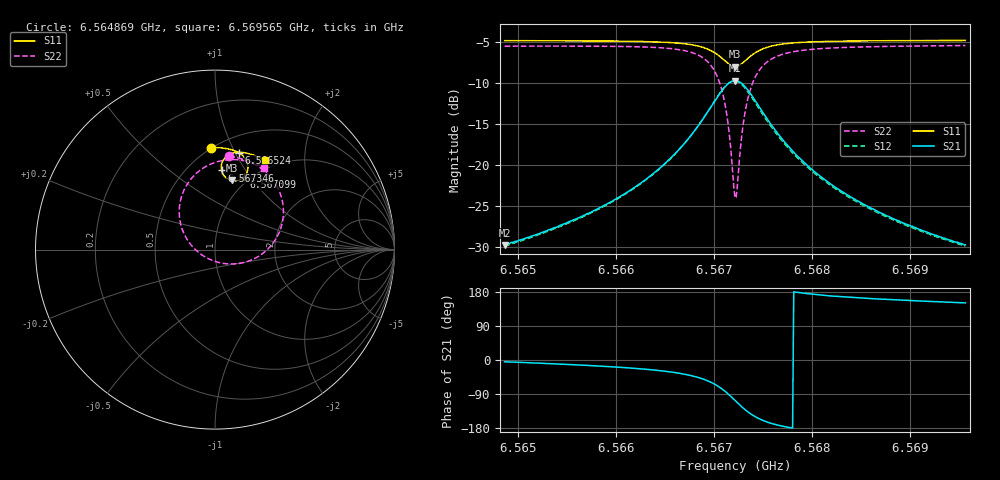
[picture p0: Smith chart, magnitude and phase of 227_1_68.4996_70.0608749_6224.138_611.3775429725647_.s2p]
#  HZ  S  RI  R  50.00
! Rohde & Schwarz Vector Network Analyzer
! Rohde-Schwarz,ZNB20-2Port,1311601062101988,3.16
! Created: UTC 3/20/2024, 5:13:53 PM
! freq[Hz]  re:S11  im:S11  re:S21  im:S21  re:S12  im:S12  re:S22  im:S22
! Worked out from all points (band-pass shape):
!   401 points, 6.564869 GHz to 6.569565 GHz, reference 50 ohm
!   highest |S21| = -9.76 dB at 6.567217 GHz (marker M1); lowest = -29.8 dB at 6.564869 GHz (marker M2)
!   |S21| within 3 dB of the highest: 6.566983 GHz to 6.567452 GHz (469.1 kHz wide, 0.00714 % of centre)
!   lowest |S11| = -8.0 dB at 6.567217 GHz (marker M3), VSWR 2.31, Z = 43.4 + j39.6 ohm
!   |S11| at or under -10 dB: nowhere
!   |S22| runs from -24.1 to -5.5 dB; largest |S21 - S12| = 0.017
!   S11 on the Smith chart (normalised r, x): 6.564869 GHz: 0.49, +0.83; 6.566524 GHz: 0.66, +1.03; 6.567099 GHz: 0.93, +0.94; 6.567346 GHz: 0.72, +0.79; 6.569565 GHz: 0.88, +1.30
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6.5648685e9  -0.023 0.5686  0.0322 -0.00266  0.0318 -0.00315  0.08 0.5208
6.5656551e9  0.0437 0.5659  0.0471 -0.0115  0.0463 -0.0119  0.1607 0.5018
6.566066e9  0.082 0.5591  0.0612 -0.022  0.0603 -0.0226  0.2147 0.4786
6.5664417e9  0.1225 0.5449  0.0833 -0.0442  0.0821 -0.0451  0.2806 0.4329
6.5665239e9  0.1323 0.5397  0.0899 -0.0527  0.0887 -0.0538  0.2987 0.4155
6.5667587e9  0.1631 0.514  0.1125 -0.0963  0.1107 -0.0983  0.3559 0.3304
6.566923e9  0.1817 0.4765  0.1211 -0.1623  0.1179 -0.1661  0.3812 0.2029
6.5670287e9  0.1803 0.4364  0.1001 -0.2326  0.0933 -0.2374  0.3447 0.0694
6.5670991e9  0.1622 0.4057  0.0539 -0.2851  0.0429 -0.2887  0.2578 -0.0274
6.5671461e9  0.1388 0.3894  0.00282 -0.3108  -0.011 -0.3114  0.162 -0.0714
6.5672048e9  0.1002 0.3836  -0.077 -0.3152  -0.0921 -0.3094  0.0169 -0.0707
6.5672165e9  0.0921 0.3851  -0.0931 -0.3113  -0.108 -0.304  -0.0116 -0.0616
6.56724e9  0.0769 0.3904  -0.1241 -0.2988  -0.1377 -0.289  -0.0649 -0.0351
6.5672987e9  0.0475 0.4156  -0.1832 -0.2467  -0.1913 -0.2329  -0.1609 0.0657
6.5673457e9  0.0365 0.4412  -0.2071 -0.1964  -0.2106 -0.1824  -0.1944 0.1572
6.5674396e9  0.0396 0.4855  -0.2087 -0.1108  -0.2067 -0.1  -0.1827 0.3065
6.5675805e9  0.0673 0.5218  -0.172 -0.0403  -0.1682 -0.0344  -0.1042 0.4244
6.5677449e9  0.0995 0.5377  -0.132 -0.007  -0.1288 -0.00386  -0.0219 0.4775
6.5680031e9  0.1385 0.5422  -0.0926 0.0102  -0.0902 0.0117  0.0654 0.4998
6.5683553e9  0.1784 0.537  -0.0638 0.0158  -0.0623 0.0165  0.1388 0.499
6.5687897e9  0.218 0.5252  -0.0451 0.0168  -0.0439 0.0172  0.199 0.4862
6.5695646e9  0.278 0.4984  -0.0283 0.0158  -0.0277 0.0158  0.2748 0.4548
